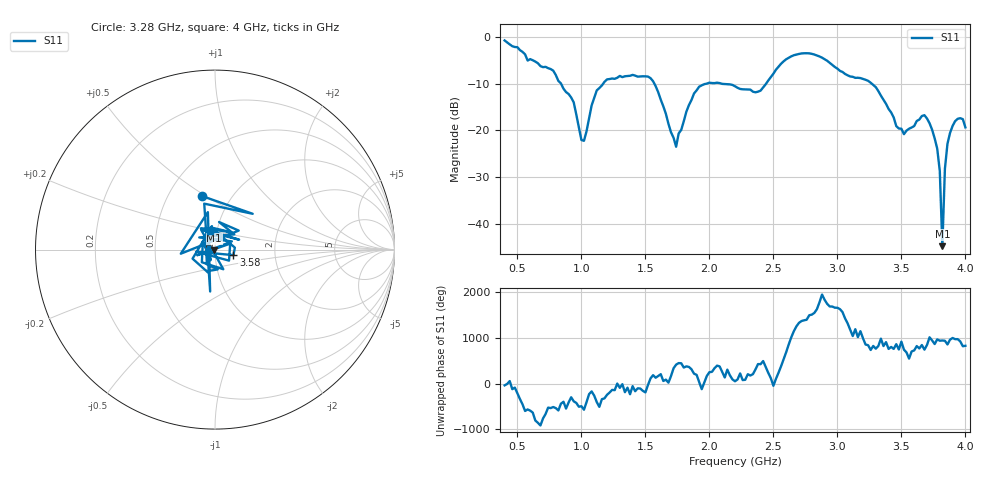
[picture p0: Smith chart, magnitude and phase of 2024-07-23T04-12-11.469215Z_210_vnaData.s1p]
!Created with skrf (http://scikit-rf.org).
# Hz S RI R 50.0
!freq ReS11 ImS11
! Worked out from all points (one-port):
!   181 points, 400 MHz to 4 GHz, reference 50 ohm
!   lowest |S11| = -44.8 dB at 3.82 GHz (marker M1), VSWR 1.01, Z = 49.6 - j0.387 ohm
!   |S11| at or under -10 dB: 1.57 GHz to 1.981 GHz (410.9 MHz wide, 23.1 % of centre); 2.093 GHz to 2.443 GHz (350.7 MHz wide, 15.5 % of centre); 3.268 GHz to end of sweep (the widest 3 of 4)
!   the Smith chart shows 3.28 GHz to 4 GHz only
!   S11 on the Smith chart (normalised r, x): 3.28 GHz: 0.73, +0.48; 3.58 GHz: 1.23, -0.08; 4 GHz: 0.92, +0.19
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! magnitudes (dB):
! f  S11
! 400 MHz  -0.8
! 780 MHz  -7.2
! 860 MHz  -11.1
! 940 MHz  -14.0
! 1 GHz  -22.1
! 1.02 GHz  -22.2
! 1.12 GHz  -11.5
! 1.3 GHz  -8.4
! 1.54 GHz  -8.8
! 1.74 GHz  -23.5
! 1.76 GHz  -20.7
! 1.92 GHz  -10.7
! 2.2 GHz  -10.6
! 2.4 GHz  -11.5
! 2.66 GHz  -3.9
! 3.1 GHz  -8.5
! 3.28 GHz  -10.3
! 3.46 GHz  -19.1
! 3.56 GHz  -19.7
! 3.58 GHz  -19.4
! 3.68 GHz  -16.8
! 3.76 GHz  -21.7
! 3.8 GHz  -28.7
! 3.82 GHz  -44.8
! 3.84 GHz  -28.2
! 3.86 GHz  -22.9
! 3.92 GHz  -18.0
! 4 GHz  -19.4
